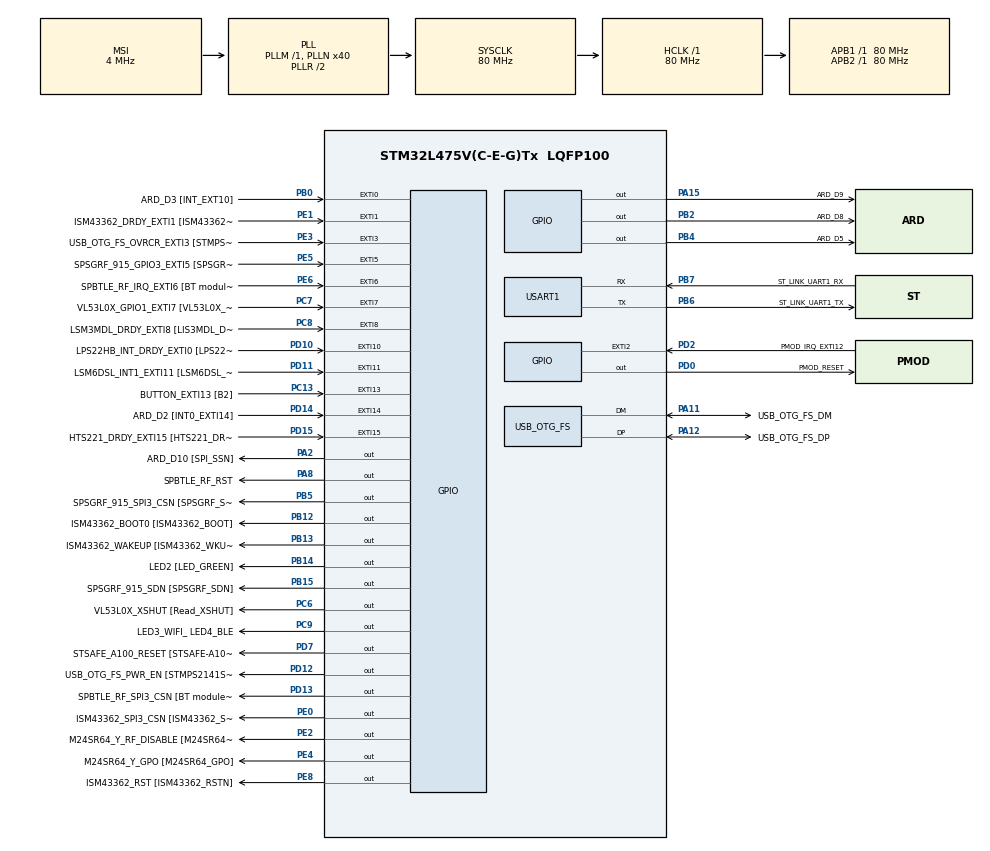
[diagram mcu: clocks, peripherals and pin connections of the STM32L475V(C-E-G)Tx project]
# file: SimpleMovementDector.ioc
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PD12.GPIO_Label=USB_OTG_FS_PWR_EN [STMPS2141STR_EN]
STMicroelectronics.X-CUBE-AI.7.0.0.XAaCUBEAaAICcArtificialOoIntelligenceJjCore=true
PC12.Signal=SPI3_MOSI
PB14.GPIO_Label=LED2 [LED_GREEN]
PC6.GPIO_Label=VL53L0X_XSHUT [Read_XSHUT]
PA6.GPIO_Label=ARD_D12 [SPI1_MISO]
PB6.GPIO_Label=ST_LINK_UART1_TX
PA15\ (JTDI).Signal=GPIO_Output
PB13.Signal=GPIO_Output
PD6.GPIO_Label=PMOD_UART2_RX
PE6.GPIO_Label=SPBTLE_RF_IRQ_EXTI6 [BT module_SPI_IRQ]
RCC.SYSCLKSource=RCC_SYSCLKSOURCE_PLLCLK
SH.ADCx_IN16.0=ADC1_IN16
STMicroelectronics.X-CUBE-AI.7.0.0.ActivationBufferSizeList=7548
PA14\ (JTCK-SWCLK).Signal=SYS_JTCK-SWCLK
PD4.Signal=USART2_RTS
RCC.APB2TimFreq_Value=80000000
PB6.Signal=USART1_TX
PC7.Signal=GPXTI7
PB6.Mode=Asynchronous
PC3.Signal=ADCx_IN4
PD0.Signal=GPIO_Output
PD8.Signal=USART3_TX
PE5.Signal=GPXTI5
PE1.Signal=GPXTI1
STMicroelectronics.X-CUBE-AI.7.0.0.MaximumSizeOfOutputLayer=AI_NETWORK_OUT_1_SIZE_BYTES
NVIC.EXTI15_10_IRQn=true\:0\:0\:false\:false\:true\:true\:true
STMicroelectronics.X-CUBE-AI.7.0.0.MaximumNumberOfOutputLayer=1
PB2.Signal=GPIO_Output
PD1.GPIO_Label=PMOD_SPI2_SCK
PB12.GPIO_Label=ISM43362_BOOT0 [ISM43362_BOOT]
PC4.GPIO_Label=ARD_A1 [ADC]
PE9.Signal=S_CKOUTDFSDM1
PB1.GPIO_Label=ARD_D6 [ADC1_IN6]
PE4.GPIO_Label=M24SR64_Y_GPO [M24SR64_GPO]
STMicroelectronics.X-CUBE-AI.7.0.0.StackSize=0x1000
PE2.Signal=GPIO_Output
PA8.Signal=GPIO_Output
PE10.Signal=QUADSPI_CLK
PA0.Signal=UART4_TX
STMicroelectronics.X-CUBE-AI.7.0.0.ModelType-803825ae97f5579f766d4f8af9aece2b3c6bae893eeb4b2aac76c3e29966c39c=Saved model
Mcu.Package=LQFP100
PB9.Signal=I2C1_SDA
PB1.Signal=ADCx_IN16
STMicroelectronics.X-CUBE-AI.7.0.0.ModelFlashOccupation-803825ae97f5579f766d4f8af9aece2b3c6bae893eeb4b2aac76c3e29966c39c=156620
SH.ADCx_IN14.0=ADC1_IN14
PD12.Signal=GPIO_Output
PA10.Signal=USB_OTG_FS_ID
PE12.GPIO_Label=OQUADSPI_BK1_IO0 [MX25R6435F_IO0]
SH.ADCx_IN9.0=ADC1_IN9
RCC.APB1TimFreq_Value=80000000
PA13\ (JTMS-SWDIO).Signal=SYS_JTMS-SWDIO
PE10.GPIO_Label=QUADSPI_CLK [MX25R6435F_SCLK]
PA4.GPIO_Label=ARD_D7
PD15.Signal=GPXTI15
STMicroelectronics.X-CUBE-AI.7.0.0.ModelHashList=803825ae97f5579f766d4f8af9aece2b3c6bae893eeb4b2aac76c3e29966c39c
PD9.GPIO_Label=INTERNAL_UART3_RX [ISM43362_TX]
STMicroelectronics.X-CUBE-AI.7.0.0.WorkingBufferStartAddrList=0xFFFFFFFF
STMicroelectronics.X-CUBE-AI.7.0.0.ReadyForCodeGeneration=true
PA9.GPIO_Label=USB_OTG_FS_VBUS [STMPS2141STR_OUT]
PC13.Signal=GPXTI13
PD3.Signal=USART2_CTS
PC2.Signal=ADCx_IN3
PC6.Signal=GPIO_Output
PB11.GPIO_Label=INTERNAL_I2C2_SDA [VL53L0X_SDA]
PD7.Signal=GPIO_Output
PD1.Signal=SPI2_SCK
PA11.GPIO_Label=USB_OTG_FS_DM
PC0.Signal=ADCx_IN1
PD10.Signal=GPXTI10
PB8.GPIO_Label=ARD_D15 [I2C1_SCL]
PA8.GPIO_Label=SPBTLE_RF_RST
PE8.GPIO_Label=ISM43362_RST [ISM43362_RSTN]
PA9.Signal=USB_OTG_FS_VBUS
STMicroelectronics.X-CUBE-AI.7.0.0.MaximumSizeOfInputLayer=AI_NETWORK_IN_1_SIZE_BYTES
PE9.GPIO_Label=DFSDM1_CKOUT [MP34DT01_CLK]
PB10.Signal=I2C2_SCL
PB14.Signal=GPIO_Output
PA5.Signal=SPI1_SCK
PE1.GPIO_Label=ISM43362_DRDY_EXTI1 [ISM43362_DATARDY]
PE14.Signal=QUADSPI_BK1_IO2
PE15.Signal=QUADSPI_BK1_IO3
PB15.GPIO_Label=SPSGRF_915_SDN [SPSGRF_SDN]
PE8.Signal=GPIO_Output
PA1.GPIO_Label=ARD_D0 [UART4_RX]
SH.ADCx_IN4.0=ADC1_IN4
PC7.GPIO_Label=VL53L0X_GPIO1_EXTI7 [VL53L0X_GPIO1]
PA4.Signal=ADCx_IN9
PB5.Signal=GPIO_Output
PE13.GPIO_Label=QUADSPI_BK1_IO1 [MX25R6435F_IO1]
PA5.GPIO_Label=ARD_D13 [SPI1_SCK]
PD11.Signal=GPXTI11
PE5.GPIO_Label=SPSGRF_915_GPIO3_EXTI5 [SPSGRF_GPIO_3]
PC12.GPIO_Label=INTERNAL_SPI3_MOSI [BT module_SPI_MOSI] [ISM43362_MOSI]
PA11.Signal=USB_OTG_FS_DM
ProjectManager.HeapSize=0x800
STMicroelectronics.X-CUBE-AI.7.0.0.ModelStructureFile-803825ae97f5579f766d4f8af9aece2b3c6bae893eeb4b2aac76c3e29966c39c=leftright_updown_convolutionnal.h5
NVIC.PriorityGroup=NVIC_PRIORITYGROUP_4
PE3.Signal=GPXTI3
STMicroelectronics.X-CUBE-AI.7.0.0.ModelRamOccupation-803825ae97f5579f766d4f8af9aece2b3c6bae893eeb4b2aac76c3e29966c39c=7548
PC3.GPIO_Label=ARD_A2 [ADC]
PB4\ (NJTRST).GPIO_Label=ARD_D5
PD2.Signal=GPXTI2
PB0.Signal=GPXTI0
PC1.Signal=ADCx_IN2
PD2.GPIO_Label=PMOD_IRQ_EXTI12
STMicroelectronics.X-CUBE-AI.7.0.0.ModelName-803825ae97f5579f766d4f8af9aece2b3c6bae893eeb4b2aac76c3e29966c39c=network
Mcu.Family=STM32L4
RCC.CortexFreq_Value=80000000
PE11.GPIO_Label=QUADSPI_NCS [MX25R6435F_SCLK]
SH.ADCx_IN2.0=ADC1_IN2
PC10.Signal=SPI3_SCK
PA0.GPIO_Label=ARD_D1 [UART4_TX]
PC0.GPIO_Label=ARD_A5 [ADC]
PD0.GPIO_Label=PMOD_RESET
PA11.Mode=Device_Only
PB0.GPIO_Label=ARD_D3 [INT_EXT10]
PC13.GPIO_Label=BUTTON_EXTI13 [B2]
PB13.GPIO_Label=ISM43362_WAKEUP [ISM43362_WKUP]
PB11.Signal=I2C2_SDA
PB15.Signal=GPIO_Output
ProjectManager.StackSize=0x1000
PB3\ (JTDO-TRACESWO).Signal=SYS_JTDO-SWO
PD13.Signal=GPIO_Output
PA12.Signal=USB_OTG_FS_DP
PD11.GPIO_Label=LSM6DSL_INT1_EXTI11 [LSM6DSL_INT1]
RCC.HCLKFreq_Value=80000000
SH.ADCx_IN3.0=ADC1_IN3
STMicroelectronics.X-CUBE-AI.7.0.0.ModelActualCompression-803825ae97f5579f766d4f8af9aece2b3c6bae893eeb4b2aac76c3e29966c39c=0.0
PB5.PinState=GPIO_PIN_SET
RCC.AHBFreq_Value=80000000
RCC.HSE_VALUE=8000000
STMicroelectronics.X-CUBE-AI.7.0.0.ModelMacc-803825ae97f5579f766d4f8af9aece2b3c6bae893eeb4b2aac76c3e29966c39c=92034
PE13.Signal=QUADSPI_BK1_IO1
STMicroelectronics.X-CUBE-AI.7.0.0.ModelNameList=network
STMicroelectronics.X-CUBE-AI.7.0.0.HeapSize=0x800
PC11.GPIO_Label=INTERNAL_SPI3_MISO [BT module_SPI_MISO] [ISM43362_MISO]
PA10.GPIO_Label=USB_OTG_FS_ID
PB7.Signal=USART1_RX
PE4.Signal=GPIO_Output
PD7.GPIO_Label=STSAFE_A100_RESET [STSAFE-A100_RESET]
PB7.GPIO_Label=ST_LINK_UART1_RX
PD13.GPIO_Label=SPBTLE_RF_SPI3_CSN [BT module_SPI_CS]
PA6.Signal=SPI1_MISO
PD5.GPIO_Label=PMOD_UART2_TX
PA2.GPIO_Label=ARD_D10 [SPI_SSN]
USB_OTG_FS.VirtualMode=Device_Only
PE0.GPIO_Label=ISM43362_SPI3_CSN [ISM43362_SSN]
SH.ADCx_IN1.0=ADC1_IN1
PB5.GPIO_Label=SPSGRF_915_SPI3_CSN [SPSGRF_SPI_CS]
PC5.Signal=ADCx_IN14
PD3.GPIO_Label=PMOD_UART2_CTS
PE7.Signal=S_DATAIN2DFSDM1
PD6.Signal=USART2_RX
PE2.GPIO_Label=M24SR64_Y_RF_DISABLE [M24SR64_RFDIS]
PC2.GPIO_Label=ARD_A3 [ADC]
RCC.PLLSAI1N=24
PA3.Signal=S_TIM2_CH4
RCC.MSI_VALUE=4000000
STMicroelectronics.X-CUBE-AI.7.0.0.ModelKind-803825ae97f5579f766d4f8af9aece2b3c6bae893eeb4b2aac76c3e29966c39c=KERAS
SH.ADCx_IN13.0=ADC1_IN13
PD15.GPIO_Label=HTS221_DRDY_EXTI15 [HTS221_DRDY]
PB9.GPIO_Label=ARD_D14 [I2C1_SDA]
PC10.GPIO_Label=INTERNAL_SPI3_SCK [BT module_SPI_SCLK] [ISM43362_SCK]
PC9.GPIO_Label=LED3_WIFI_ LED4_BLE
STMicroelectronics.X-CUBE-AI.7.0.0.MaximumNumberOfInputLayer=1
STMicroelectronics.X-CUBE-AI.7.0.0.InternalRamActivationBufferMaxSize=AI_NETWORK_DATA_ACTIVATIONS_SIZE
PC11.Signal=SPI3_MISO
PC8.Signal=GPXTI8
PC4.Signal=ADCx_IN13
SH.S_DATAIN2DFSDM1.0=DFSDM1_DATIN2
PE14.GPIO_Label=QUAD_SPI_BK1_IO2 [MX25R6435F_IO2]
PC15-OSC32_OUT\ (PC15).Signal=RCC_OSC32_OUT
PD9.Signal=USART3_RX
PD5.Signal=USART2_TX
PA14\ (JTCK-SWCLK).GPIO_Label=SYS_JTCK_SWCLK
PB3\ (JTDO-TRACESWO).GPIO_Label=SYS_JTD0_SWO
STMicroelectronics.X-CUBE-AI.7.0.0.ModelCompression-803825ae97f5579f766d4f8af9aece2b3c6bae893eeb4b2aac76c3e29966c39c=1
PA12.GPIO_Label=USB_OTG_FS_DP
PD8.GPIO_Label=INTERNAL_UART3_TX [ISM43362_RX]
PC8.GPIO_Label=LSM3MDL_DRDY_EXTI8 [LIS3MDL_DRDY]
USART1.VirtualMode-Asynchronous=VM_ASYNC
PE0.PinState=GPIO_PIN_SET
PE15.GPIO_Label=QUAD_SPI_BK1_IO3 [MX25R6435F_IO3]
ProjectManager.TargetToolchain=STM32CubeIDE
PB10.GPIO_Label=INTERNAL_I2C2_SCL [VL53L0X_SCL]
STMicroelectronics.X-CUBE-AI.7.0.0.LatestDirectoryUsed-803825ae97f5579f766d4f8af9aece2b3c6bae893eeb4b2aac76c3e29966c39c=/Users/roc5/STM32CubeIDE/workspace_1.6.1/SimpleMovementDector
RCC.USBFreq_Value=48000000
PD10.GPIO_Label=LPS22HB_INT_DRDY_EXTI0 [LPS22HB_INT_DRDY] 
PE11.Signal=QUADSPI_NCS
RCC.LSE_VALUE=32768
PA1.Signal=UART4_RX
board=B-L475E-IOT01A1
RCC.VCOOutputFreq_Value=160000000
RCC.APB2Freq_Value=80000000
PA13\ (JTMS-SWDIO).GPIO_Label=SYS_JTMS_SWDIO
PD4.GPIO_Label=PMOD_UART2_RTS
SH.S_CKOUTDFSDM1.0=DFSDM1_CKOUT
RCC.ADCFreq_Value=48000000
PC1.GPIO_Label=ARD_A4 [ADC]
PD14.GPIO_Label=ARD_D2 [INT0_EXTI14]
PE6.Signal=GPXTI6
PA15\ (JTDI).GPIO_Label=ARD_D9
Mcu.Name=STM32L475V(C-E-G)Tx
PE0.Signal=GPIO_Output
PE7.GPIO_Label=DFSDM1_DATIN2 [MP34DT01_DOUT]
PE12.Signal=QUADSPI_BK1_IO0
PA2.Signal=GPIO_Output
PD14.Signal=GPXTI14
RCC.SYSCLKFreq_VALUE=80000000
PA7.GPIO_Label=ARD_D11 [SPI1_MOSI]
PA12.Mode=Device_Only
PC13.GPIO_ModeDefaultEXTI=GPIO_MODE_IT_FALLING
PC5.GPIO_Label=ARD_A0 [ADC]
PC14-OSC32_IN\ (PC14).Signal=RCC_OSC32_IN
PB7.Mode=Asynchronous
NVIC.EXTI9_5_IRQn=true\:0\:0\:false\:false\:true\:true\:true
PB2.GPIO_Label=ARD_D8
SH.S_TIM2_CH4.0=TIM2_CH4
VP_STMicroelectronics.X-CUBE-AI_VS_ArtificialOoIntelligenceJjXAaCUBEAaAI_7.0.0.Mode=ArtificialOoIntelligenceJjXAaCUBEAaAI
RCC.HSI_VALUE=16000000
RCC.PLLN=40
PB8.Signal=I2C1_SCL
PE3.GPIO_Label=USB_OTG_FS_OVRCR_EXTI3 [STMPS2141STR_FAULT]
PC9.Signal=GPIO_Output
PD13.PinState=GPIO_PIN_SET
RCC.APB1Freq_Value=80000000
VP_CRC_VS_CRC.Mode=CRC_Activate
PB12.Signal=GPIO_Output
PA3.GPIO_Label=ARD_D4
PA7.Signal=SPI1_MOSI
PB4\ (NJTRST).Signal=GPIO_Output

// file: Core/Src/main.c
/* USER CODE BEGIN Header */
/**
  ******************************************************************************
  * @file           : main.c
  * @brief          : Main program body
  ******************************************************************************
  * @attention
  *
  * <h2><center>&copy; Copyright (c) 2021 STMicroelectronics.
  * All rights reserved.</center></h2>
  *
  * This software component is licensed by ST under BSD 3-Clause license,
  * the "License"; You may not use this file except in compliance with the
  * License. You may obtain a copy of the License at:
  *                        opensource.org/licenses/BSD-3-Clause
  *
  ******************************************************************************
  */
/* USER CODE END Header */
#include "main.h"

/* USER CODE BEGIN Includes */
#define RECORDING_MODE 0

#include "lsm6dsl.h"
#include "b_l475e_iot01a1_bus.h"
#include "ai_logging.h"

#if !RECORDING_MODE
#include "network.h"
#include "network_data.h"
#endif

/* USER CODE END Includes */

/* USER CODE BEGIN PD */
#define SEND_BUFFER_SIZE 100
#define DATA_SCALING 2000.0
/* USER CODE END PD */

CRC_HandleTypeDef hcrc;

UART_HandleTypeDef huart1;

PCD_HandleTypeDef hpcd_USB_OTG_FS;

/* USER CODE BEGIN PV */
LSM6DSL_Object_t MotionSensor;
volatile uint32_t motionDataAvailable;
uint8_t send_buffer[SEND_BUFFER_SIZE];

#if !RECORDING_MODE
/* Global handle to reference a instantiated C-model */
static ai_handle network = AI_HANDLE_NULL;
/* Global c-array to handle the activations buffer */
AI_ALIGNED(4)
static ai_u8 activations[AI_NETWORK_DATA_ACTIVATIONS_SIZE];

/* Allocate data payload for input tensor */
AI_ALIGNED(4)
static ai_float in_data[AI_NETWORK_IN_1_SIZE];
/* or static ai_u8 in_data[AI_NETWORK_IN_1_SIZE_BYTES]; */

/* Allocate data payload for the output tensor */
AI_ALIGNED(4)
static ai_float out_data[AI_NETWORK_OUT_1_SIZE];
#endif

/* USER CODE END PV */

void SystemClock_Config(void);
static void MX_GPIO_Init(void);
static void MX_USART1_UART_Init(void);
static void MX_USB_OTG_FS_PCD_Init(void);
static void MX_CRC_Init(void);
/* USER CODE BEGIN PFP */
static void MEMS_Init(void);

#if !RECORDING_MODE
int aiInit(void);
int aiRun(const void *in_data, void *out_data);
#endif
/* USER CODE END PFP */

/* USER CODE BEGIN 0 */
uint32_t send_function(uint8_t *data, uint32_t size)
{
  HAL_UART_Transmit(&huart1, (uint8_t *) data, size, 1000);
  return size;
}
/* USER CODE END 0 */

int main(void)
{

  /* MCU Configuration--------------------------------------------------------*/

  /* Reset of all peripherals, Initializes the Flash interface and the Systick. */
  HAL_Init();

  /* Configure the system clock */
  SystemClock_Config();

  /* Initialize all configured peripherals */
  MX_GPIO_Init();
  MX_USART1_UART_Init();
  MX_USB_OTG_FS_PCD_Init();
  MX_CRC_Init();
  /* USER CODE BEGIN 2 */
  MEMS_Init();
#if !RECORDING_MODE
  aiInit();
#endif
  /* USER CODE END 2 */

  /* Infinite loop */
  /* USER CODE BEGIN WHILE */

  LSM6DSL_Axes_t acc_axes;
  motionDataAvailable = 0;

  ai_logging_device_t log;
  ai_logging_init(&log);
  ai_logging_init_send(&log, send_function, send_buffer, SEND_BUFFER_SIZE);
  ai_logging_packet_t packet;
  ai_logging_clear_packet(&packet);

#if !RECORDING_MODE
  char temp_buffer[SEND_BUFFER_SIZE];
  int buffer_length = 0;
#endif

  while (1)
  {
#if !RECORDING_MODE
	  if(motionDataAvailable != 0 && buffer_length < 50)
	  {
		  LSM6DSL_ACC_GetAxes(&MotionSensor, &acc_axes);
		  in_data[buffer_length*3 + 0] = (float)(acc_axes.x/DATA_SCALING);
		  in_data[buffer_length*3 + 1] = (float)(acc_axes.y/DATA_SCALING);
		  in_data[buffer_length*3 + 2] = (float)(acc_axes.z/DATA_SCALING);

		  buffer_length += 1;
		  motionDataAvailable = 0;
	  }

	  if(buffer_length >= 50)
	  {
		  aiRun(in_data, out_data);
		  buffer_length = 0;

		  ai_logging_clear_packet(&packet);
		  sprintf(temp_buffer, "Result: %d, %d, %d\n", (int)(out_data[0]*1000), (int)(out_data[1]*1000), (int)(out_data[2]*1000));
		  packet.message = temp_buffer;
		  packet.message_size = strlen(packet.message);
		  ai_logging_send_packet(&log, &packet);

		  if(out_data[0] > out_data[1] && out_data[0] > out_data[2])
		  {
			  HAL_GPIO_WritePin(GPIOA, GPIO_PIN_5, GPIO_PIN_RESET);
			  HAL_GPIO_WritePin(GPIOB, GPIO_PIN_14, GPIO_PIN_RESET);
		  }
		  else if (out_data[1] > out_data[0] && out_data[1] > out_data[2])
		  {
			  HAL_GPIO_WritePin(GPIOA, GPIO_PIN_5, GPIO_PIN_SET);
			  HAL_GPIO_WritePin(GPIOB, GPIO_PIN_14, GPIO_PIN_RESET);
		  }
		  else if (out_data[2] > out_data[0] && out_data[2] > out_data[1])
		  {
			  HAL_GPIO_WritePin(GPIOA, GPIO_PIN_5, GPIO_PIN_RESET);
			  HAL_GPIO_WritePin(GPIOB, GPIO_PIN_14, GPIO_PIN_SET);
		  }
	  }
#endif
#if RECORDING_MODE
	  if(motionDataAvailable != 0)
	  {
		  LSM6DSL_ACC_GetAxes(&MotionSensor, &acc_axes);
		  ai_logging_clear_packet(&packet);

		  packet.payload = &acc_axes;
		  packet.payload_size = sizeof(acc_axes);
		  ai_logging_create_shape_1d(&packet.shape, 3);
		  packet.payload_type = AI_INT32;

		  ai_logging_send_packet(&log, &packet);
		  motionDataAvailable = 0;
	  }

#endif
    /* USER CODE END WHILE */

  }
}

void SystemClock_Config(void)
{
  RCC_OscInitTypeDef RCC_OscInitStruct = {0};
  RCC_ClkInitTypeDef RCC_ClkInitStruct = {0};
  RCC_PeriphCLKInitTypeDef PeriphClkInit = {0};

  /** Initializes the RCC Oscillators according to the specified parameters
  * in the RCC_OscInitTypeDef structure.
  */
  RCC_OscInitStruct.OscillatorType = RCC_OSCILLATORTYPE_MSI;
  RCC_OscInitStruct.MSIState = RCC_MSI_ON;
  RCC_OscInitStruct.MSICalibrationValue = 0;
  RCC_OscInitStruct.MSIClockRange = RCC_MSIRANGE_6;
  RCC_OscInitStruct.PLL.PLLState = RCC_PLL_ON;
  RCC_OscInitStruct.PLL.PLLSource = RCC_PLLSOURCE_MSI;
  RCC_OscInitStruct.PLL.PLLM = 1;
  RCC_OscInitStruct.PLL.PLLN = 40;
  RCC_OscInitStruct.PLL.PLLP = RCC_PLLP_DIV7;
  RCC_OscInitStruct.PLL.PLLQ = RCC_PLLQ_DIV2;
  RCC_OscInitStruct.PLL.PLLR = RCC_PLLR_DIV2;
  if (HAL_RCC_OscConfig(&RCC_OscInitStruct) != HAL_OK)
  {
    Error_Handler();
  }
  /** Initializes the CPU, AHB and APB buses clocks
  */
  RCC_ClkInitStruct.ClockType = RCC_CLOCKTYPE_HCLK|RCC_CLOCKTYPE_SYSCLK
                              |RCC_CLOCKTYPE_PCLK1|RCC_CLOCKTYPE_PCLK2;
  RCC_ClkInitStruct.SYSCLKSource = RCC_SYSCLKSOURCE_PLLCLK;
  RCC_ClkInitStruct.AHBCLKDivider = RCC_SYSCLK_DIV1;
  RCC_ClkInitStruct.APB1CLKDivider = RCC_HCLK_DIV1;
  RCC_ClkInitStruct.APB2CLKDivider = RCC_HCLK_DIV1;

  if (HAL_RCC_ClockConfig(&RCC_ClkInitStruct, FLASH_LATENCY_4) != HAL_OK)
  {
    Error_Handler();
  }
  PeriphClkInit.PeriphClockSelection = RCC_PERIPHCLK_USART1|RCC_PERIPHCLK_USB;
  PeriphClkInit.Usart1ClockSelection = RCC_USART1CLKSOURCE_PCLK2;
  PeriphClkInit.UsbClockSelection = RCC_USBCLKSOURCE_PLLSAI1;
  PeriphClkInit.PLLSAI1.PLLSAI1Source = RCC_PLLSOURCE_MSI;
  PeriphClkInit.PLLSAI1.PLLSAI1M = 1;
  PeriphClkInit.PLLSAI1.PLLSAI1N = 24;
  PeriphClkInit.PLLSAI1.PLLSAI1P = RCC_PLLP_DIV7;
  PeriphClkInit.PLLSAI1.PLLSAI1Q = RCC_PLLQ_DIV2;
  PeriphClkInit.PLLSAI1.PLLSAI1R = RCC_PLLR_DIV2;
  PeriphClkInit.PLLSAI1.PLLSAI1ClockOut = RCC_PLLSAI1_48M2CLK;
  if (HAL_RCCEx_PeriphCLKConfig(&PeriphClkInit) != HAL_OK)
  {
    Error_Handler();
  }
  /** Configure the main internal regulator output voltage
  */
  if (HAL_PWREx_ControlVoltageScaling(PWR_REGULATOR_VOLTAGE_SCALE1) != HAL_OK)
  {
    Error_Handler();
  }
}

static void MX_CRC_Init(void)
{

  hcrc.Instance = CRC;
  hcrc.Init.DefaultPolynomialUse = DEFAULT_POLYNOMIAL_ENABLE;
  hcrc.Init.DefaultInitValueUse = DEFAULT_INIT_VALUE_ENABLE;
  hcrc.Init.InputDataInversionMode = CRC_INPUTDATA_INVERSION_NONE;
  hcrc.Init.OutputDataInversionMode = CRC_OUTPUTDATA_INVERSION_DISABLE;
  hcrc.InputDataFormat = CRC_INPUTDATA_FORMAT_BYTES;
  if (HAL_CRC_Init(&hcrc) != HAL_OK)
  {
    Error_Handler();
  }

}

static void MX_USART1_UART_Init(void)
{

  huart1.Instance = USART1;
  huart1.Init.BaudRate = 115200;
  huart1.Init.WordLength = UART_WORDLENGTH_8B;
  huart1.Init.StopBits = UART_STOPBITS_1;
  huart1.Init.Parity = UART_PARITY_NONE;
  huart1.Init.Mode = UART_MODE_TX_RX;
  huart1.Init.HwFlowCtl = UART_HWCONTROL_NONE;
  huart1.Init.OverSampling = UART_OVERSAMPLING_16;
  huart1.Init.OneBitSampling = UART_ONE_BIT_SAMPLE_DISABLE;
  huart1.AdvancedInit.AdvFeatureInit = UART_ADVFEATURE_NO_INIT;
  if (HAL_UART_Init(&huart1) != HAL_OK)
  {
    Error_Handler();
  }

}

static void MX_USB_OTG_FS_PCD_Init(void)
{

  hpcd_USB_OTG_FS.Instance = USB_OTG_FS;
  hpcd_USB_OTG_FS.Init.dev_endpoints = 6;
  hpcd_USB_OTG_FS.Init.speed = PCD_SPEED_FULL;
  hpcd_USB_OTG_FS.Init.phy_itface = PCD_PHY_EMBEDDED;
  hpcd_USB_OTG_FS.Init.Sof_enable = DISABLE;
  hpcd_USB_OTG_FS.Init.low_power_enable = DISABLE;
  hpcd_USB_OTG_FS.Init.lpm_enable = DISABLE;
  hpcd_USB_OTG_FS.Init.battery_charging_enable = DISABLE;
  hpcd_USB_OTG_FS.Init.use_dedicated_ep1 = DISABLE;
  hpcd_USB_OTG_FS.Init.vbus_sensing_enable = DISABLE;
  if (HAL_PCD_Init(&hpcd_USB_OTG_FS) != HAL_OK)
  {
    Error_Handler();
  }

}

static void MX_GPIO_Init(void)
{
  GPIO_InitTypeDef GPIO_InitStruct = {0};

  /* GPIO Ports Clock Enable */
  __HAL_RCC_GPIOE_CLK_ENABLE();
  __HAL_RCC_GPIOC_CLK_ENABLE();
  __HAL_RCC_GPIOA_CLK_ENABLE();
  __HAL_RCC_GPIOB_CLK_ENABLE();
  __HAL_RCC_GPIOD_CLK_ENABLE();

  /*Configure GPIO pin Output Level */
  HAL_GPIO_WritePin(GPIOE, M24SR64_Y_RF_DISABLE_Pin|M24SR64_Y_GPO_Pin|ISM43362_RST_Pin, GPIO_PIN_RESET);

  /*Configure GPIO pin Output Level */
  HAL_GPIO_WritePin(GPIOA, ARD_D10_Pin|SPBTLE_RF_RST_Pin|ARD_D9_Pin, GPIO_PIN_RESET);

  /*Configure GPIO pin Output Level */
  HAL_GPIO_WritePin(GPIOB, ARD_D8_Pin|ISM43362_BOOT0_Pin|ISM43362_WAKEUP_Pin|LED2_Pin
                          |SPSGRF_915_SDN_Pin|ARD_D5_Pin, GPIO_PIN_RESET);

  /*Configure GPIO pin Output Level */
  HAL_GPIO_WritePin(GPIOD, USB_OTG_FS_PWR_EN_Pin|PMOD_RESET_Pin|STSAFE_A100_RESET_Pin, GPIO_PIN_RESET);

  /*Configure GPIO pin Output Level */
  HAL_GPIO_WritePin(SPBTLE_RF_SPI3_CSN_GPIO_Port, SPBTLE_RF_SPI3_CSN_Pin, GPIO_PIN_SET);

  /*Configure GPIO pin Output Level */
  HAL_GPIO_WritePin(GPIOC, VL53L0X_XSHUT_Pin|LED3_WIFI__LED4_BLE_Pin, GPIO_PIN_RESET);

  /*Configure GPIO pin Output Level */
  HAL_GPIO_WritePin(SPSGRF_915_SPI3_CSN_GPIO_Port, SPSGRF_915_SPI3_CSN_Pin, GPIO_PIN_SET);

  /*Configure GPIO pin Output Level */
  HAL_GPIO_WritePin(ISM43362_SPI3_CSN_GPIO_Port, ISM43362_SPI3_CSN_Pin, GPIO_PIN_SET);

  /*Configure GPIO pins : M24SR64_Y_RF_DISABLE_Pin M24SR64_Y_GPO_Pin ISM43362_RST_Pin ISM43362_SPI3_CSN_Pin */
  GPIO_InitStruct.Pin = M24SR64_Y_RF_DISABLE_Pin|M24SR64_Y_GPO_Pin|ISM43362_RST_Pin|ISM43362_SPI3_CSN_Pin;
  GPIO_InitStruct.Mode = GPIO_MODE_OUTPUT_PP;
  GPIO_InitStruct.Pull = GPIO_NOPULL;
  GPIO_InitStruct.Speed = GPIO_SPEED_FREQ_LOW;
  HAL_GPIO_Init(GPIOE, &GPIO_InitStruct);

  /*Configure GPIO pins : USB_OTG_FS_OVRCR_EXTI3_Pin SPSGRF_915_GPIO3_EXTI5_Pin SPBTLE_RF_IRQ_EXTI6_Pin ISM43362_DRDY_EXTI1_Pin */
  GPIO_InitStruct.Pin = USB_OTG_FS_OVRCR_EXTI3_Pin|SPSGRF_915_GPIO3_EXTI5_Pin|SPBTLE_RF_IRQ_EXTI6_Pin|ISM43362_DRDY_EXTI1_Pin;
  GPIO_InitStruct.Mode = GPIO_MODE_IT_RISING;
  GPIO_InitStruct.Pull = GPIO_NOPULL;
  HAL_GPIO_Init(GPIOE, &GPIO_InitStruct);

  /*Configure GPIO pin : BUTTON_EXTI13_Pin */
  GPIO_InitStruct.Pin = BUTTON_EXTI13_Pin;
  GPIO_InitStruct.Mode = GPIO_MODE_IT_FALLING;
  GPIO_InitStruct.Pull = GPIO_NOPULL;
  HAL_GPIO_Init(BUTTON_EXTI13_GPIO_Port, &GPIO_InitStruct);

  /*Configure GPIO pins : ARD_A5_Pin ARD_A4_Pin ARD_A3_Pin ARD_A2_Pin
                           ARD_A1_Pin ARD_A0_Pin */
  GPIO_InitStruct.Pin = ARD_A5_Pin|ARD_A4_Pin|ARD_A3_Pin|ARD_A2_Pin
                          |ARD_A1_Pin|ARD_A0_Pin;
  GPIO_InitStruct.Mode = GPIO_MODE_ANALOG_ADC_CONTROL;
  GPIO_InitStruct.Pull = GPIO_NOPULL;
  HAL_GPIO_Init(GPIOC, &GPIO_InitStruct);

  /*Configure GPIO pins : ARD_D1_Pin ARD_D0_Pin */
  GPIO_InitStruct.Pin = ARD_D1_Pin|ARD_D0_Pin;
  GPIO_InitStruct.Mode = GPIO_MODE_AF_PP;
  GPIO_InitStruct.Pull = GPIO_NOPULL;
  GPIO_InitStruct.Speed = GPIO_SPEED_FREQ_VERY_HIGH;
  GPIO_InitStruct.Alternate = GPIO_AF8_UART4;
  HAL_GPIO_Init(GPIOA, &GPIO_InitStruct);

  /*Configure GPIO pins : ARD_D10_Pin SPBTLE_RF_RST_Pin ARD_D9_Pin */
  GPIO_InitStruct.Pin = ARD_D10_Pin|SPBTLE_RF_RST_Pin|ARD_D9_Pin;
  GPIO_InitStruct.Mode = GPIO_MODE_OUTPUT_PP;
  GPIO_InitStruct.Pull = GPIO_NOPULL;
  GPIO_InitStruct.Speed = GPIO_SPEED_FREQ_LOW;
  HAL_GPIO_Init(GPIOA, &GPIO_InitStruct);

  /*Configure GPIO pin : ARD_D4_Pin */
  GPIO_InitStruct.Pin = ARD_D4_Pin;
  GPIO_InitStruct.Mode = GPIO_MODE_AF_PP;
  GPIO_InitStruct.Pull = GPIO_NOPULL;
  GPIO_InitStruct.Speed = GPIO_SPEED_FREQ_LOW;
  GPIO_InitStruct.Alternate = GPIO_AF1_TIM2;
  HAL_GPIO_Init(ARD_D4_GPIO_Port, &GPIO_InitStruct);

  /*Configure GPIO pin : ARD_D7_Pin */
  GPIO_InitStruct.Pin = ARD_D7_Pin;
  GPIO_InitStruct.Mode = GPIO_MODE_ANALOG_ADC_CONTROL;
  GPIO_InitStruct.Pull = GPIO_NOPULL;
  HAL_GPIO_Init(ARD_D7_GPIO_Port, &GPIO_InitStruct);

  /*Configure GPIO pins : ARD_D13_Pin ARD_D12_Pin ARD_D11_Pin */
  GPIO_InitStruct.Pin = ARD_D13_Pin|ARD_D12_Pin|ARD_D11_Pin;
  GPIO_InitStruct.Mode = GPIO_MODE_AF_PP;
  GPIO_InitStruct.Pull = GPIO_NOPULL;
  GPIO_InitStruct.Speed = GPIO_SPEED_FREQ_VERY_HIGH;
  GPIO_InitStruct.Alternate = GPIO_AF5_SPI1;
  HAL_GPIO_Init(GPIOA, &GPIO_InitStruct);

  /*Configure GPIO pin : ARD_D3_Pin */
  GPIO_InitStruct.Pin = ARD_D3_Pin;
  GPIO_InitStruct.Mode = GPIO_MODE_IT_RISING;
  GPIO_InitStruct.Pull = GPIO_NOPULL;
  HAL_GPIO_Init(ARD_D3_GPIO_Port, &GPIO_InitStruct);

  /*Configure GPIO pin : ARD_D6_Pin */
  GPIO_InitStruct.Pin = ARD_D6_Pin;
  GPIO_InitStruct.Mode = GPIO_MODE_ANALOG_ADC_CONTROL;
  GPIO_InitStruct.Pull = GPIO_NOPULL;
  HAL_GPIO_Init(ARD_D6_GPIO_Port, &GPIO_InitStruct);

  /*Configure GPIO pins : ARD_D8_Pin ISM43362_BOOT0_Pin ISM43362_WAKEUP_Pin LED2_Pin
                           SPSGRF_915_SDN_Pin ARD_D5_Pin SPSGRF_915_SPI3_CSN_Pin */
  GPIO_InitStruct.Pin = ARD_D8_Pin|ISM43362_BOOT0_Pin|ISM43362_WAKEUP_Pin|LED2_Pin
                          |SPSGRF_915_SDN_Pin|ARD_D5_Pin|SPSGRF_915_SPI3_CSN_Pin;
  GPIO_InitStruct.Mode = GPIO_MODE_OUTPUT_PP;
  GPIO_InitStruct.Pull = GPIO_NOPULL;
  GPIO_InitStruct.Speed = GPIO_SPEED_FREQ_LOW;
  HAL_GPIO_Init(GPIOB, &GPIO_InitStruct);

  /*Configure GPIO pins : DFSDM1_DATIN2_Pin DFSDM1_CKOUT_Pin */
  GPIO_InitStruct.Pin = DFSDM1_DATIN2_Pin|DFSDM1_CKOUT_Pin;
  GPIO_InitStruct.Mode = GPIO_MODE_AF_PP;
  GPIO_InitStruct.Pull = GPIO_NOPULL;
  GPIO_InitStruct.Speed = GPIO_SPEED_FREQ_LOW;
  GPIO_InitStruct.Alternate = GPIO_AF6_DFSDM1;
  HAL_GPIO_Init(GPIOE, &GPIO_InitStruct);

  /*Configure GPIO pins : QUADSPI_CLK_Pin QUADSPI_NCS_Pin OQUADSPI_BK1_IO0_Pin QUADSPI_BK1_IO1_Pin
                           QUAD_SPI_BK1_IO2_Pin QUAD_SPI_BK1_IO3_Pin */
  GPIO_InitStruct.Pin = QUADSPI_CLK_Pin|QUADSPI_NCS_Pin|OQUADSPI_BK1_IO0_Pin|QUADSPI_BK1_IO1_Pin
                          |QUAD_SPI_BK1_IO2_Pin|QUAD_SPI_BK1_IO3_Pin;
  GPIO_InitStruct.Mode = GPIO_MODE_AF_PP;
  GPIO_InitStruct.Pull = GPIO_NOPULL;
  GPIO_InitStruct.Speed = GPIO_SPEED_FREQ_VERY_HIGH;
  GPIO_InitStruct.Alternate = GPIO_AF10_QUADSPI;
  HAL_GPIO_Init(GPIOE, &GPIO_InitStruct);

  /*Configure GPIO pins : INTERNAL_I2C2_SCL_Pin INTERNAL_I2C2_SDA_Pin */
  GPIO_InitStruct.Pin = INTERNAL_I2C2_SCL_Pin|INTERNAL_I2C2_SDA_Pin;
  GPIO_InitStruct.Mode = GPIO_MODE_AF_OD;
  GPIO_InitStruct.Pull = GPIO_PULLUP;
  GPIO_InitStruct.Speed = GPIO_SPEED_FREQ_VERY_HIGH;
  GPIO_InitStruct.Alternate = GPIO_AF4_I2C2;
  HAL_GPIO_Init(GPIOB, &GPIO_InitStruct);

  /*Configure GPIO pins : INTERNAL_UART3_TX_Pin INTERNAL_UART3_RX_Pin */
  GPIO_InitStruct.Pin = INTERNAL_UART3_TX_Pin|INTERNAL_UART3_RX_Pin;
  GPIO_InitStruct.Mode = GPIO_MODE_AF_PP;
  GPIO_InitStruct.Pull = GPIO_NOPULL;
  GPIO_InitStruct.Speed = GPIO_SPEED_FREQ_VERY_HIGH;
  GPIO_InitStruct.Alternate = GPIO_AF7_USART3;
  HAL_GPIO_Init(GPIOD, &GPIO_InitStruct);

  /*Configure GPIO pins : LPS22HB_INT_DRDY_EXTI0_Pin LSM6DSL_INT1_EXTI11_Pin ARD_D2_Pin HTS221_DRDY_EXTI15_Pin
                           PMOD_IRQ_EXTI12_Pin */
  GPIO_InitStruct.Pin = LPS22HB_INT_DRDY_EXTI0_Pin|LSM6DSL_INT1_EXTI11_Pin|ARD_D2_Pin|HTS221_DRDY_EXTI15_Pin
                          |PMOD_IRQ_EXTI12_Pin;
  GPIO_InitStruct.Mode = GPIO_MODE_IT_RISING;
  GPIO_InitStruct.Pull = GPIO_NOPULL;
  HAL_GPIO_Init(GPIOD, &GPIO_InitStruct);

  /*Configure GPIO pins : USB_OTG_FS_PWR_EN_Pin SPBTLE_RF_SPI3_CSN_Pin PMOD_RESET_Pin STSAFE_A100_RESET_Pin */
  GPIO_InitStruct.Pin = USB_OTG_FS_PWR_EN_Pin|SPBTLE_RF_SPI3_CSN_Pin|PMOD_RESET_Pin|STSAFE_A100_RESET_Pin;
  GPIO_InitStruct.Mode = GPIO_MODE_OUTPUT_PP;
  GPIO_InitStruct.Pull = GPIO_NOPULL;
  GPIO_InitStruct.Speed = GPIO_SPEED_FREQ_LOW;
  HAL_GPIO_Init(GPIOD, &GPIO_InitStruct);

  /*Configure GPIO pins : VL53L0X_XSHUT_Pin LED3_WIFI__LED4_BLE_Pin */
  GPIO_InitStruct.Pin = VL53L0X_XSHUT_Pin|LED3_WIFI__LED4_BLE_Pin;
  GPIO_InitStruct.Mode = GPIO_MODE_OUTPUT_PP;
  GPIO_InitStruct.Pull = GPIO_NOPULL;
  GPIO_InitStruct.Speed = GPIO_SPEED_FREQ_LOW;
  HAL_GPIO_Init(GPIOC, &GPIO_InitStruct);

  /*Configure GPIO pins : VL53L0X_GPIO1_EXTI7_Pin LSM3MDL_DRDY_EXTI8_Pin */
  GPIO_InitStruct.Pin = VL53L0X_GPIO1_EXTI7_Pin|LSM3MDL_DRDY_EXTI8_Pin;
  GPIO_InitStruct.Mode = GPIO_MODE_IT_RISING;
  GPIO_InitStruct.Pull = GPIO_NOPULL;
  HAL_GPIO_Init(GPIOC, &GPIO_InitStruct);

  /*Configure GPIO pins : INTERNAL_SPI3_SCK_Pin INTERNAL_SPI3_MISO_Pin INTERNAL_SPI3_MOSI_Pin */
  GPIO_InitStruct.Pin = INTERNAL_SPI3_SCK_Pin|INTERNAL_SPI3_MISO_Pin|INTERNAL_SPI3_MOSI_Pin;
  GPIO_InitStruct.Mode = GPIO_MODE_AF_PP;
  GPIO_InitStruct.Pull = GPIO_NOPULL;
  GPIO_InitStruct.Speed = GPIO_SPEED_FREQ_VERY_HIGH;
  GPIO_InitStruct.Alternate = GPIO_AF6_SPI3;
  HAL_GPIO_Init(GPIOC, &GPIO_InitStruct);

  /*Configure GPIO pin : PMOD_SPI2_SCK_Pin */
  GPIO_InitStruct.Pin = PMOD_SPI2_SCK_Pin;
  GPIO_InitStruct.Mode = GPIO_MODE_AF_PP;
  GPIO_InitStruct.Pull = GPIO_NOPULL;
  GPIO_InitStruct.Speed = GPIO_SPEED_FREQ_VERY_HIGH;
  GPIO_InitStruct.Alternate = GPIO_AF5_SPI2;
  HAL_GPIO_Init(PMOD_SPI2_SCK_GPIO_Port, &GPIO_InitStruct);

  /*Configure GPIO pins : PMOD_UART2_CTS_Pin PMOD_UART2_RTS_Pin PMOD_UART2_TX_Pin PMOD_UART2_RX_Pin */
  GPIO_InitStruct.Pin = PMOD_UART2_CTS_Pin|PMOD_UART2_RTS_Pin|PMOD_UART2_TX_Pin|PMOD_UART2_RX_Pin;
  GPIO_InitStruct.Mode = GPIO_MODE_AF_PP;
  GPIO_InitStruct.Pull = GPIO_NOPULL;
  GPIO_InitStruct.Speed = GPIO_SPEED_FREQ_VERY_HIGH;
  GPIO_InitStruct.Alternate = GPIO_AF7_USART2;
  HAL_GPIO_Init(GPIOD, &GPIO_InitStruct);

  /*Configure GPIO pins : ARD_D15_Pin ARD_D14_Pin */
  GPIO_InitStruct.Pin = ARD_D15_Pin|ARD_D14_Pin;
  GPIO_InitStruct.Mode = GPIO_MODE_AF_OD;
  GPIO_InitStruct.Pull = GPIO_PULLUP;
  GPIO_InitStruct.Speed = GPIO_SPEED_FREQ_VERY_HIGH;
  GPIO_InitStruct.Alternate = GPIO_AF4_I2C1;
  HAL_GPIO_Init(GPIOB, &GPIO_InitStruct);

  /* EXTI interrupt init*/
  HAL_NVIC_SetPriority(EXTI9_5_IRQn, 0, 0);
  HAL_NVIC_EnableIRQ(EXTI9_5_IRQn);

  HAL_NVIC_SetPriority(EXTI15_10_IRQn, 0, 0);
  HAL_NVIC_EnableIRQ(EXTI15_10_IRQn);

}

/* USER CODE BEGIN 4 */
static void MEMS_Init(void)
{
  LSM6DSL_IO_t io_ctx;
  uint8_t id;
  LSM6DSL_AxesRaw_t axes;

  /* Link I2C functions to the LSM6DSL driver */
  io_ctx.BusType     = LSM6DSL_I2C_BUS;
  io_ctx.Address     = LSM6DSL_I2C_ADD_L;
  io_ctx.Init        = BSP_I2C2_Init;
  io_ctx.DeInit      = BSP_I2C2_DeInit;
  io_ctx.ReadReg     = BSP_I2C2_ReadReg;
  io_ctx.WriteReg    = BSP_I2C2_WriteReg;
  io_ctx.GetTick     = BSP_GetTick;
  LSM6DSL_RegisterBusIO(&MotionSensor, &io_ctx);

  /* Read the LSM6DSL WHO_AM_I register */
  LSM6DSL_ReadID(&MotionSensor, &id);
  if (id != LSM6DSL_ID) {
    Error_Handler();
  }

  /* Initialize the LSM6DSL sensor */
  LSM6DSL_Init(&MotionSensor);

  /* Configure the LSM6DSL accelerometer (ODR, scale and interrupt) */
  //LSM6DSL_ACC_SetOutputDataRate(&MotionSensor, 208.0f);
  LSM6DSL_ACC_SetOutputDataRate(&MotionSensor, 104.0f);
  //LSM6DSL_ACC_SetOutputDataRate(&MotionSensor, 26.0f);
  //LSM6DSL_ACC_SetOutputDataRate(&MotionSensor, 12.5f);

  LSM6DSL_ACC_SetFullScale(&MotionSensor, 4);          /* [-4000mg; +4000mg] */
  LSM6DSL_ACC_Set_INT1_DRDY(&MotionSensor, ENABLE);    /* Enable DRDY */
  LSM6DSL_ACC_GetAxesRaw(&MotionSensor, &axes);        /* Clear DRDY */
  LSM6DSL_Set_DRDY_Mode(&MotionSensor, 1);/* DRDY pulsed mode */

  /* Start the LSM6DSL accelerometer */
  LSM6DSL_ACC_Enable(&MotionSensor);
}

void HAL_GPIO_EXTI_Callback(uint16_t GPIO_Pin)
{
  if (GPIO_Pin == GPIO_PIN_11) {
    motionDataAvailable += 1;
  }
}

#if !RECORDING_MODE
int aiInit(void)
{
  ai_error err;

  /* 1 - Create an instance of the model */
  err = ai_network_create(&network, AI_NETWORK_DATA_CONFIG);
  if (err.type != AI_ERROR_NONE) {
    printf("E: AI ai_network_create error - type=%d code=%d\r\n", err.type, err.code);
    return -1;
    };

  /* 2 - Initialize the instance */
  const ai_network_params params = AI_NETWORK_PARAMS_INIT(AI_NETWORK_DATA_WEIGHTS(ai_network_data_weights_get()),
	      AI_NETWORK_DATA_ACTIVATIONS(activations));

  if (!ai_network_init(network, &params)) {
      err = ai_network_get_error(network);
      printf("E: AI ai_network_init error - type=%d code=%d\r\n", err.type, err.code);
      return -1;
    }

  return 0;
}

int aiRun(const void *in_data, void *out_data)
{
  ai_i32 n_batch;
  ai_error err;

  /* 1 - Create the AI buffer IO handlers with the default definition */
  ai_buffer ai_input[AI_NETWORK_IN_NUM] = AI_NETWORK_IN ;
  ai_buffer ai_output[AI_NETWORK_OUT_NUM] = AI_NETWORK_OUT ;

  /* 2 - Update IO handlers with the data payload */
  ai_input[0].n_batches = 1;
  ai_input[0].data = AI_HANDLE_PTR(in_data);
  ai_output[0].n_batches = 1;
  ai_output[0].data = AI_HANDLE_PTR(out_data);

  /* 3 - Perform the inference */
  n_batch = ai_network_run(network, &ai_input[0], &ai_output[0]);
  if (n_batch != 1) {
      err = ai_network_get_error(network);
      printf("E: AI ai_network_run error - type=%d code=%d\r\n", err.type, err.code);
      return -1;
  };

  return 0;
}
#endif

/* USER CODE END 4 */

void Error_Handler(void)
{
  __disable_irq();
  while (1)
  {
  }
}

/************************ (C) COPYRIGHT STMicroelectronics *****END OF FILE****/
